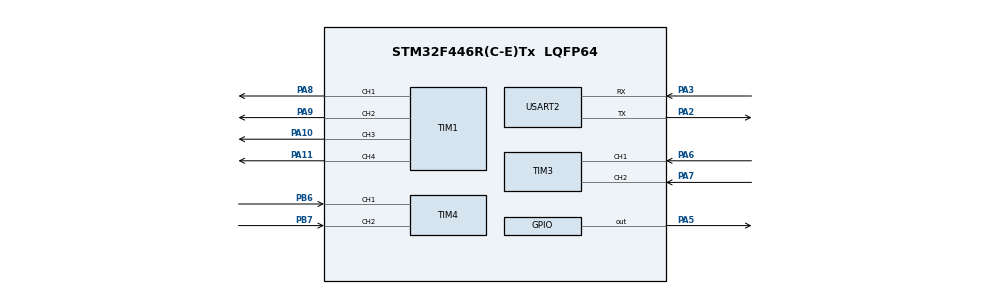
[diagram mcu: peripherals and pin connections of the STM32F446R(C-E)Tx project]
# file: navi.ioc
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Dma.Request0=USART2_RX
Dma.Request1=USART2_TX
Dma.USART2_RX.0.Direction=DMA_PERIPH_TO_MEMORY
Dma.USART2_RX.0.FIFOMode=DMA_FIFOMODE_DISABLE
Dma.USART2_RX.0.Instance=DMA1_Stream5
Dma.USART2_RX.0.MemDataAlignment=DMA_MDATAALIGN_BYTE
Dma.USART2_RX.0.MemInc=DMA_MINC_ENABLE
Dma.USART2_RX.0.Mode=DMA_CIRCULAR
Dma.USART2_RX.0.PeriphDataAlignment=DMA_PDATAALIGN_BYTE
Dma.USART2_RX.0.PeriphInc=DMA_PINC_DISABLE
Dma.USART2_RX.0.Priority=DMA_PRIORITY_HIGH
Dma.USART2_TX.1.Direction=DMA_MEMORY_TO_PERIPH
Dma.USART2_TX.1.FIFOMode=DMA_FIFOMODE_DISABLE
Dma.USART2_TX.1.Instance=DMA1_Stream6
Dma.USART2_TX.1.MemDataAlignment=DMA_MDATAALIGN_BYTE
Dma.USART2_TX.1.MemInc=DMA_MINC_ENABLE
Dma.USART2_TX.1.Mode=DMA_NORMAL
Dma.USART2_TX.1.PeriphDataAlignment=DMA_PDATAALIGN_BYTE
Dma.USART2_TX.1.PeriphInc=DMA_PINC_DISABLE
Dma.USART2_TX.1.Priority=DMA_PRIORITY_HIGH
Mcu.Family=STM32F4
Mcu.Name=STM32F446R(C-E)Tx
Mcu.Package=LQFP64
NVIC.DMA1_Stream5_IRQn=true\:0\:0\:false\:false\:true\:false\:true\:true
NVIC.DMA1_Stream6_IRQn=true\:0\:0\:false\:false\:true\:false\:true\:true
NVIC.PriorityGroup=NVIC_PRIORITYGROUP_4
PA10.Signal=S_TIM1_CH3
PA11.Signal=S_TIM1_CH4
PA2.Mode=Asynchronous
PA2.Signal=USART2_TX
PA3.Mode=Asynchronous
PA3.Signal=USART2_RX
PA5.PinState=GPIO_PIN_SET
PA5.Signal=GPIO_Output
PA6.Signal=S_TIM3_CH1
PA7.Signal=S_TIM3_CH2
PA8.Signal=S_TIM1_CH1
PA9.Signal=S_TIM1_CH2
PB6.Signal=S_TIM4_CH1
PB7.Signal=S_TIM4_CH2
ProjectManager.HeapSize=0x200
ProjectManager.StackSize=0x400
ProjectManager.TargetToolchain=STM32CubeIDE
RCC.CortexFreq_Value=16000000
RCC.USBFreq_Value=96000000
RCC.VCOOutputFreq_Value=192000000
SH.S_TIM1_CH1.0=TIM1_CH1,PWM Generation1 CH1
SH.S_TIM1_CH2.0=TIM1_CH2,PWM Generation2 CH2
SH.S_TIM1_CH3.0=TIM1_CH3,PWM Generation3 CH3
SH.S_TIM1_CH4.0=TIM1_CH4,PWM Generation4 CH4
SH.S_TIM3_CH1.0=TIM3_CH1,Encoder_Interface
SH.S_TIM3_CH2.0=TIM3_CH2,Encoder_Interface
SH.S_TIM4_CH1.0=TIM4_CH1,Encoder_Interface
SH.S_TIM4_CH2.0=TIM4_CH2,Encoder_Interface
TIM1.Channel-PWM\ Generation1\ CH1=TIM_CHANNEL_1
TIM1.Channel-PWM\ Generation2\ CH2=TIM_CHANNEL_2
TIM1.Channel-PWM\ Generation3\ CH3=TIM_CHANNEL_3
TIM1.Channel-PWM\ Generation4\ CH4=TIM_CHANNEL_4
USART2.VirtualMode=VM_ASYNC
board=custom

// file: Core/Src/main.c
/* USER CODE BEGIN Header */
/**
  ******************************************************************************
  * @file           : main.c
  * @brief          : Main program body
  ******************************************************************************
  * @attention
  *
  * Copyright (c) 2024 STMicroelectronics.
  * All rights reserved.
  *
  * This software is licensed under terms that can be found in the LICENSE file
  * in the root directory of this software component.
  * If no LICENSE file comes with this software, it is provided AS-IS.
  *
  ******************************************************************************
  */
/* USER CODE END Header */
#include "main.h"

/* USER CODE BEGIN Includes */
#include "odometry.h"
/* USER CODE END Includes */

TIM_HandleTypeDef htim1;
TIM_HandleTypeDef htim3;
TIM_HandleTypeDef htim4;

UART_HandleTypeDef huart2;
DMA_HandleTypeDef hdma_usart2_rx;
DMA_HandleTypeDef hdma_usart2_tx;

/* USER CODE BEGIN PV */
extern TIM_HandleTypeDef* htim_right_encoder;
extern TIM_TypeDef* right_TIM;
extern int right_resolution;
extern int right_precision;
extern int right_sens;
extern volatile unsigned int current_right_count;
extern volatile unsigned int last_right_count;
extern volatile long d_right;
extern volatile long total_right_count;
extern volatile float total_right,d_right_counter;
extern volatile double right_speed,right_encoder_speed;

extern TIM_HandleTypeDef* htim_left_Encoder;
extern TIM_TypeDef* left_TIM;
extern int left_resolution;
extern int left_precision;
extern int left_sens;
extern volatile unsigned int current_left_count;
extern volatile unsigned int last_left_count;
extern volatile long d_left;
extern volatile long total_left_count;
extern volatile float total_left,d_left_counter,total_centre;
extern volatile double left_speed,left_encoder_speed;

extern volatile float dR,dL,dC;
extern volatile float left_radius,right_radius,spacing_encoder,spacing_wheel;
extern volatile float current_x;//           ==> 285
extern volatile float current_y;//        ==> 676
extern volatile float current_phi_rad;//PI/2;
extern volatile double phi_speed,d_phi_counter;
extern volatile float current_phi_deg;

extern float ref_x,ref_y,dec;

int distance=0;
int distance_right=0;
int distance_left=0;

/* USER CODE END PV */

void SystemClock_Config(void);
static void MX_GPIO_Init(void);
static void MX_DMA_Init(void);
static void MX_TIM1_Init(void);
static void MX_TIM4_Init(void);
static void MX_TIM3_Init(void);
static void MX_USART2_UART_Init(void);

int main(void)
{

  /* MCU Configuration--------------------------------------------------------*/

  /* Reset of all peripherals, Initializes the Flash interface and the Systick. */
  HAL_Init();

  /* Configure the system clock */
  SystemClock_Config();

  /* Initialize all configured peripherals */
  MX_GPIO_Init();
  MX_DMA_Init();
  MX_TIM1_Init();
  MX_TIM4_Init();
  MX_TIM3_Init();
  MX_USART2_UART_Init();
  /* USER CODE BEGIN 2 */
  set_right_encoder(&htim3,TIM3,400,4,1);
  set_left_encoder(&htim4,TIM4,400,4,1);
  set_dimension(8,8,30,20);
  ref_x=0;
  ref_y=0;

  /* USER CODE END 2 */

  /* Infinite loop */
  /* USER CODE BEGIN WHILE */
  while (1)
  {
	  //speed_calcul();
	  /*if(current_x=100){
	  	 HAL_GPIO_WritePin(GPIOA, GPIO_PIN_5, GPIO_PIN_SET);
	  }*/
	  /*read_right_encoder();
	  read_left_encoder();*/
	  update_position();
	  distance_right=ticks_to_distance(total_right_count,4,400,4);
	  distance_left=ticks_to_distance(total_right_count,4,400,4);

    /* USER CODE END WHILE */

  }
}

void SystemClock_Config(void)
{
  RCC_OscInitTypeDef RCC_OscInitStruct = {0};
  RCC_ClkInitTypeDef RCC_ClkInitStruct = {0};

  /** Configure the main internal regulator output voltage
  */
  __HAL_RCC_PWR_CLK_ENABLE();
  __HAL_PWR_VOLTAGESCALING_CONFIG(PWR_REGULATOR_VOLTAGE_SCALE3);

  /** Initializes the RCC Oscillators according to the specified parameters
  * in the RCC_OscInitTypeDef structure.
  */
  RCC_OscInitStruct.OscillatorType = RCC_OSCILLATORTYPE_HSI;
  RCC_OscInitStruct.HSIState = RCC_HSI_ON;
  RCC_OscInitStruct.HSICalibrationValue = RCC_HSICALIBRATION_DEFAULT;
  RCC_OscInitStruct.PLL.PLLState = RCC_PLL_NONE;
  if (HAL_RCC_OscConfig(&RCC_OscInitStruct) != HAL_OK)
  {
    Error_Handler();
  }

  /** Initializes the CPU, AHB and APB buses clocks
  */
  RCC_ClkInitStruct.ClockType = RCC_CLOCKTYPE_HCLK|RCC_CLOCKTYPE_SYSCLK
                              |RCC_CLOCKTYPE_PCLK1|RCC_CLOCKTYPE_PCLK2;
  RCC_ClkInitStruct.SYSCLKSource = RCC_SYSCLKSOURCE_HSI;
  RCC_ClkInitStruct.AHBCLKDivider = RCC_SYSCLK_DIV1;
  RCC_ClkInitStruct.APB1CLKDivider = RCC_HCLK_DIV1;
  RCC_ClkInitStruct.APB2CLKDivider = RCC_HCLK_DIV1;

  if (HAL_RCC_ClockConfig(&RCC_ClkInitStruct, FLASH_LATENCY_0) != HAL_OK)
  {
    Error_Handler();
  }
}

static void MX_TIM1_Init(void)
{

  TIM_MasterConfigTypeDef sMasterConfig = {0};
  TIM_OC_InitTypeDef sConfigOC = {0};
  TIM_BreakDeadTimeConfigTypeDef sBreakDeadTimeConfig = {0};

  htim1.Instance = TIM1;
  htim1.Init.Prescaler = 0;
  htim1.Init.CounterMode = TIM_COUNTERMODE_UP;
  htim1.Init.Period = 65535;
  htim1.Init.ClockDivision = TIM_CLOCKDIVISION_DIV1;
  htim1.Init.RepetitionCounter = 0;
  htim1.Init.AutoReloadPreload = TIM_AUTORELOAD_PRELOAD_DISABLE;
  if (HAL_TIM_PWM_Init(&htim1) != HAL_OK)
  {
    Error_Handler();
  }
  sMasterConfig.MasterOutputTrigger = TIM_TRGO_RESET;
  sMasterConfig.MasterSlaveMode = TIM_MASTERSLAVEMODE_DISABLE;
  if (HAL_TIMEx_MasterConfigSynchronization(&htim1, &sMasterConfig) != HAL_OK)
  {
    Error_Handler();
  }
  sConfigOC.OCMode = TIM_OCMODE_PWM1;
  sConfigOC.Pulse = 0;
  sConfigOC.OCPolarity = TIM_OCPOLARITY_HIGH;
  sConfigOC.OCNPolarity = TIM_OCNPOLARITY_HIGH;
  sConfigOC.OCFastMode = TIM_OCFAST_DISABLE;
  sConfigOC.OCIdleState = TIM_OCIDLESTATE_RESET;
  sConfigOC.OCNIdleState = TIM_OCNIDLESTATE_RESET;
  if (HAL_TIM_PWM_ConfigChannel(&htim1, &sConfigOC, TIM_CHANNEL_1) != HAL_OK)
  {
    Error_Handler();
  }
  if (HAL_TIM_PWM_ConfigChannel(&htim1, &sConfigOC, TIM_CHANNEL_2) != HAL_OK)
  {
    Error_Handler();
  }
  if (HAL_TIM_PWM_ConfigChannel(&htim1, &sConfigOC, TIM_CHANNEL_3) != HAL_OK)
  {
    Error_Handler();
  }
  if (HAL_TIM_PWM_ConfigChannel(&htim1, &sConfigOC, TIM_CHANNEL_4) != HAL_OK)
  {
    Error_Handler();
  }
  sBreakDeadTimeConfig.OffStateRunMode = TIM_OSSR_DISABLE;
  sBreakDeadTimeConfig.OffStateIDLEMode = TIM_OSSI_DISABLE;
  sBreakDeadTimeConfig.LockLevel = TIM_LOCKLEVEL_OFF;
  sBreakDeadTimeConfig.DeadTime = 0;
  sBreakDeadTimeConfig.BreakState = TIM_BREAK_DISABLE;
  sBreakDeadTimeConfig.BreakPolarity = TIM_BREAKPOLARITY_HIGH;
  sBreakDeadTimeConfig.AutomaticOutput = TIM_AUTOMATICOUTPUT_DISABLE;
  if (HAL_TIMEx_ConfigBreakDeadTime(&htim1, &sBreakDeadTimeConfig) != HAL_OK)
  {
    Error_Handler();
  }
  HAL_TIM_MspPostInit(&htim1);

}

static void MX_TIM3_Init(void)
{

  TIM_Encoder_InitTypeDef sConfig = {0};
  TIM_MasterConfigTypeDef sMasterConfig = {0};

  htim3.Instance = TIM3;
  htim3.Init.Prescaler = 0;
  htim3.Init.CounterMode = TIM_COUNTERMODE_UP;
  htim3.Init.Period = 65535;
  htim3.Init.ClockDivision = TIM_CLOCKDIVISION_DIV1;
  htim3.Init.AutoReloadPreload = TIM_AUTORELOAD_PRELOAD_DISABLE;
  sConfig.EncoderMode = TIM_ENCODERMODE_TI1;
  sConfig.IC1Polarity = TIM_ICPOLARITY_RISING;
  sConfig.IC1Selection = TIM_ICSELECTION_DIRECTTI;
  sConfig.IC1Prescaler = TIM_ICPSC_DIV1;
  sConfig.IC1Filter = 0;
  sConfig.IC2Polarity = TIM_ICPOLARITY_RISING;
  sConfig.IC2Selection = TIM_ICSELECTION_DIRECTTI;
  sConfig.IC2Prescaler = TIM_ICPSC_DIV1;
  sConfig.IC2Filter = 0;
  if (HAL_TIM_Encoder_Init(&htim3, &sConfig) != HAL_OK)
  {
    Error_Handler();
  }
  sMasterConfig.MasterOutputTrigger = TIM_TRGO_RESET;
  sMasterConfig.MasterSlaveMode = TIM_MASTERSLAVEMODE_DISABLE;
  if (HAL_TIMEx_MasterConfigSynchronization(&htim3, &sMasterConfig) != HAL_OK)
  {
    Error_Handler();
  }

}

static void MX_TIM4_Init(void)
{

  TIM_Encoder_InitTypeDef sConfig = {0};
  TIM_MasterConfigTypeDef sMasterConfig = {0};

  htim4.Instance = TIM4;
  htim4.Init.Prescaler = 0;
  htim4.Init.CounterMode = TIM_COUNTERMODE_UP;
  htim4.Init.Period = 65535;
  htim4.Init.ClockDivision = TIM_CLOCKDIVISION_DIV1;
  htim4.Init.AutoReloadPreload = TIM_AUTORELOAD_PRELOAD_DISABLE;
  sConfig.EncoderMode = TIM_ENCODERMODE_TI1;
  sConfig.IC1Polarity = TIM_ICPOLARITY_RISING;
  sConfig.IC1Selection = TIM_ICSELECTION_DIRECTTI;
  sConfig.IC1Prescaler = TIM_ICPSC_DIV1;
  sConfig.IC1Filter = 0;
  sConfig.IC2Polarity = TIM_ICPOLARITY_RISING;
  sConfig.IC2Selection = TIM_ICSELECTION_DIRECTTI;
  sConfig.IC2Prescaler = TIM_ICPSC_DIV1;
  sConfig.IC2Filter = 0;
  if (HAL_TIM_Encoder_Init(&htim4, &sConfig) != HAL_OK)
  {
    Error_Handler();
  }
  sMasterConfig.MasterOutputTrigger = TIM_TRGO_RESET;
  sMasterConfig.MasterSlaveMode = TIM_MASTERSLAVEMODE_DISABLE;
  if (HAL_TIMEx_MasterConfigSynchronization(&htim4, &sMasterConfig) != HAL_OK)
  {
    Error_Handler();
  }

}

static void MX_USART2_UART_Init(void)
{

  huart2.Instance = USART2;
  huart2.Init.BaudRate = 115200;
  huart2.Init.WordLength = UART_WORDLENGTH_8B;
  huart2.Init.StopBits = UART_STOPBITS_1;
  huart2.Init.Parity = UART_PARITY_NONE;
  huart2.Init.Mode = UART_MODE_TX_RX;
  huart2.Init.HwFlowCtl = UART_HWCONTROL_NONE;
  huart2.Init.OverSampling = UART_OVERSAMPLING_16;
  if (HAL_UART_Init(&huart2) != HAL_OK)
  {
    Error_Handler();
  }

}

static void MX_DMA_Init(void)
{

  /* DMA controller clock enable */
  __HAL_RCC_DMA1_CLK_ENABLE();

  /* DMA interrupt init */
  /* DMA1_Stream5_IRQn interrupt configuration */
  HAL_NVIC_SetPriority(DMA1_Stream5_IRQn, 0, 0);
  HAL_NVIC_EnableIRQ(DMA1_Stream5_IRQn);
  /* DMA1_Stream6_IRQn interrupt configuration */
  HAL_NVIC_SetPriority(DMA1_Stream6_IRQn, 0, 0);
  HAL_NVIC_EnableIRQ(DMA1_Stream6_IRQn);

}

static void MX_GPIO_Init(void)
{
  GPIO_InitTypeDef GPIO_InitStruct = {0};

  /* GPIO Ports Clock Enable */
  __HAL_RCC_GPIOA_CLK_ENABLE();
  __HAL_RCC_GPIOB_CLK_ENABLE();

  /*Configure GPIO pin Output Level */
  HAL_GPIO_WritePin(GPIOA, GPIO_PIN_5, GPIO_PIN_SET);

  /*Configure GPIO pin : PA5 */
  GPIO_InitStruct.Pin = GPIO_PIN_5;
  GPIO_InitStruct.Mode = GPIO_MODE_OUTPUT_PP;
  GPIO_InitStruct.Pull = GPIO_NOPULL;
  GPIO_InitStruct.Speed = GPIO_SPEED_FREQ_LOW;
  HAL_GPIO_Init(GPIOA, &GPIO_InitStruct);

}

void Error_Handler(void)
{
  __disable_irq();
  while (1)
  {
  }
}
